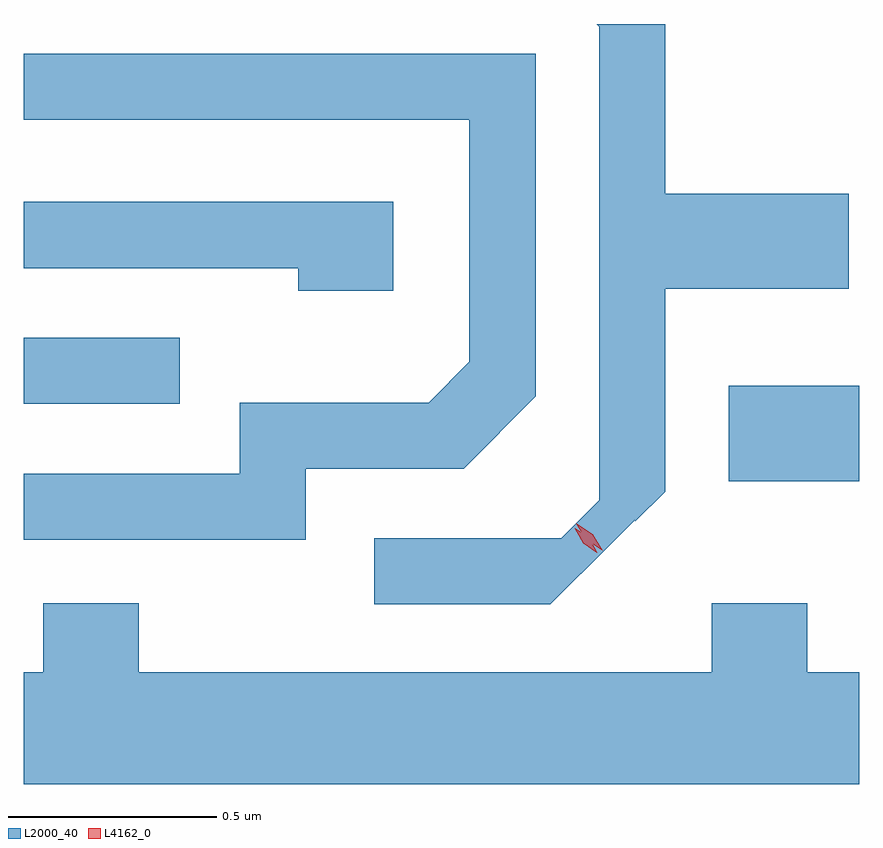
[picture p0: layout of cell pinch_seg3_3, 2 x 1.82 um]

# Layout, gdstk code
import gdstk
lib = gdstk.Library(unit=1e-6, precision=1e-09)
def R(c, l, rs):  # rectangles x0, y0, x1, y1
    for r in rs: c.add(gdstk.rectangle(r[:2], r[2:], *l))
def P(c, l, *ps):  # polygons
    for p in ps: c.add(gdstk.Polygon(p, *l))
L2000_40 = (2000, 40)
L4162_0 = (4162, 0)

pinch_seg3_3 = lib.new_cell('pinch_seg3_3')
R(pinch_seg3_3, L2000_40, [(848.131,1246.621,848.444,1246.849), (846.444,1246.806,846.818,1246.964)])
P(pinch_seg3_3, L2000_40, [(847.777,1246.399),(847.778,1246.399),(847.906,1246.527),(847.908,1246.525),(847.979,1246.596),(847.979,1247.081),(848.419,1247.081),(848.419,1247.309),(847.979,1247.309),(847.979,1247.715),(847.815,1247.715),(847.821,1247.709),(847.821,1246.675),(847.822,1246.675),(847.822,1246.575),(847.731,1246.484),(847.283,1246.484),(847.283,1246.326),(847.704,1246.326)],
  [(847.119,1246.651),(847.497,1246.651),(847.669,1246.824),(847.669,1247.644),(846.444,1247.644),(846.444,1247.486),(847.511,1247.486),(847.511,1246.907),(847.414,1246.809),(846.961,1246.809),(846.961,1246.639),(846.444,1246.639),(846.444,1246.481),(847.119,1246.481)],
  [(847.329,1247.289),(846.444,1247.289),(846.444,1247.131),(847.101,1247.131),(847.101,1247.076),(847.329,1247.076)],
  [(848.444,1246.164),(848.319,1246.164),(848.319,1246.329),(848.091,1246.329),(848.091,1246.164),(846.719,1246.164),(846.719,1246.329),(846.491,1246.329),(846.491,1246.164),(846.444,1246.164),(846.444,1245.896),(848.444,1245.896)])
P(pinch_seg3_3, L4162_0, [(847.816,1246.45),(847.783,1246.472),(847.763,1246.508),(847.763,1246.508),(847.764,1246.508),(847.797,1246.486),(847.817,1246.45),(847.817,1246.45)],
  [(847.83,1246.454),(847.791,1246.48),(847.766,1246.519),(847.766,1246.52),(847.767,1246.52),(847.806,1246.494),(847.83,1246.454),(847.83,1246.454)])

lib.write_gds('pinch_seg3_3.gds')
